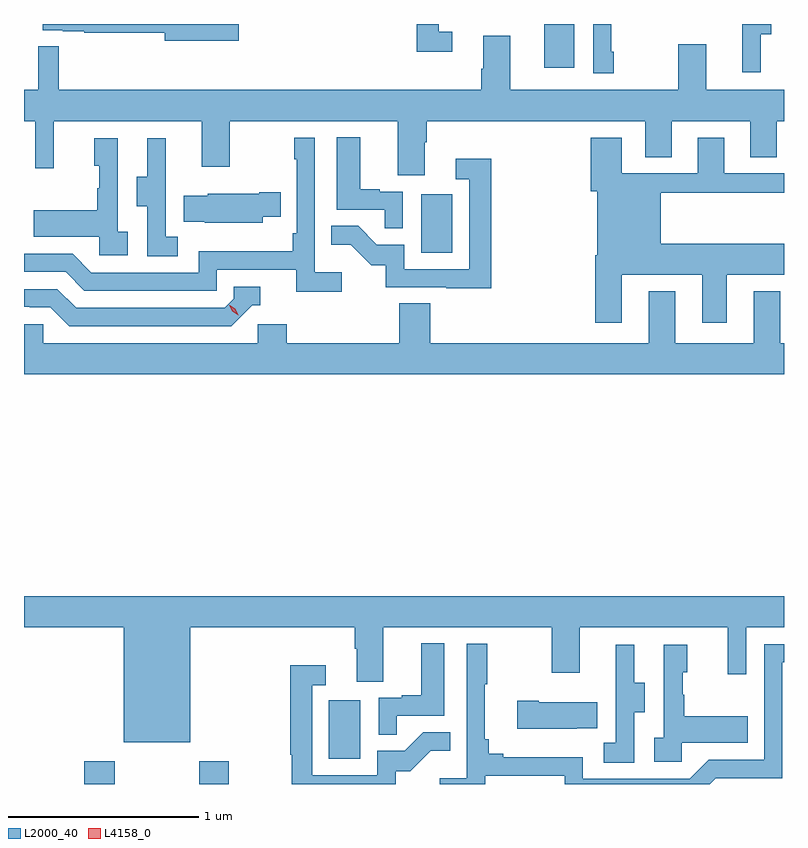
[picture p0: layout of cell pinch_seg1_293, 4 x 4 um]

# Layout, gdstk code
import gdstk
lib = gdstk.Library(unit=1e-6, precision=1e-09)
def R(c, l, rs):  # rectangles x0, y0, x1, y1
    for r in rs: c.add(gdstk.rectangle(r[:2], r[2:], *l))
def P(c, l, *ps):  # polygons
    for p in ps: c.add(gdstk.Polygon(p, *l))
L2000_40 = (2000, 40)
L4158_0 = (4158, 0)

pinch_seg1_293 = lib.new_cell('pinch_seg1_293')
R(pinch_seg1_293, L2000_40, [(949.025,541.583,949.185,541.702), (949.63,541.583,949.785,541.702), (950.312,541.716,950.476,542.023), (950.798,544.38,950.962,544.687), (951.446,545.352,951.604,545.583)])
P(pinch_seg1_293, L2000_40, [(952.585,545.53),(952.639,545.53),(952.639,545.583),(952.488,545.583),(952.488,545.541),(952.487,545.541),(952.487,545.328),(952.585,545.328)],
  [(949.837,545.583),(948.806,545.583),(948.806,545.55),(948.91,545.55),(948.91,545.544),(949.024,545.544),(949.024,545.538),(949.448,545.538),(949.448,545.495),(949.837,545.495)],
  [(950.962,545.541),(950.889,545.541),(950.889,545.583),(950.773,545.583),(950.773,545.436),(950.962,545.436)],
  [(951.811,545.437),(951.798,545.437),(951.798,545.583),(951.702,545.583),(951.702,545.325),(951.811,545.325)],
  [(950.815,544.96),(950.828,544.96),(950.828,545.072),(951.977,545.072),(951.977,544.882),(952.117,544.882),(952.117,545.072),(952.529,545.072),(952.529,544.882),(952.669,544.882),(952.669,545.072),(952.707,545.072),(952.707,545.236),(952.297,545.236),(952.297,545.476),(952.15,545.476),(952.15,545.236),(951.265,545.236),(951.265,545.522),(951.125,545.522),(951.125,545.348),(951.113,545.348),(951.113,545.236),(948.89,545.236),(948.89,545.465),(948.782,545.465),(948.782,545.236),(948.707,545.236),(948.707,545.072),(948.765,545.072),(948.765,544.824),(948.863,544.824),(948.863,545.072),(949.643,545.072),(949.643,544.833),(949.791,544.833),(949.791,545.072),(950.675,545.072),(950.675,544.786),(950.815,544.786)],
  [(950.7,544.701),(950.579,544.701),(950.579,544.714),(950.476,544.714),(950.476,544.987),(950.354,544.987),(950.354,544.605),(950.605,544.605),(950.605,544.507),(950.7,544.507)],
  [(951.853,544.262),(952.277,544.262),(952.277,544.011),(952.405,544.011),(952.405,544.262),(952.707,544.262),(952.707,544.426),(952.057,544.426),(952.057,544.696),(952.707,544.696),(952.707,544.797),(952.393,544.797),(952.393,544.984),(952.253,544.984),(952.253,544.797),(951.853,544.797),(951.853,544.984),(951.689,544.984),(951.689,544.704),(951.725,544.704),(951.725,544.366),(951.713,544.366),(951.713,544.011),(951.853,544.011)],
  [(950.38,544.276),(950.238,544.276),(950.238,544.984),(950.13,544.984),(950.13,544.871),(950.142,544.871),(950.142,544.483),(950.122,544.483),(950.122,544.387),(949.626,544.387),(949.626,544.275),(949.062,544.275),(948.963,544.374),(948.707,544.374),(948.707,544.278),(948.926,544.278),(949.025,544.179),(949.722,544.179),(949.722,544.29),(950.141,544.29),(950.141,544.174),(950.38,544.174)],
  [(949.516,544.463),(949.452,544.463),(949.452,544.767),(949.454,544.767),(949.454,544.981),(949.355,544.981),(949.355,544.779),(949.301,544.779),(949.301,544.624),(949.356,544.624),(949.356,544.36),(949.516,544.36)],
  [(949.252,544.49),(949.2,544.49),(949.2,544.981),(949.076,544.981),(949.076,544.836),(949.102,544.836),(949.102,544.718),(949.092,544.718),(949.092,544.603),(948.757,544.603),(948.757,544.463),(949.104,544.463),(949.104,544.365),(949.252,544.365)],
  [(951.167,544.873),(950.979,544.873),(950.979,544.767),(951.051,544.767),(951.051,544.293),(950.709,544.293),(950.709,544.422),(950.564,544.422),(950.466,544.52),(950.323,544.52),(950.323,544.421),(950.427,544.421),(950.534,544.314),(950.611,544.314),(950.611,544.197),(950.929,544.197),(950.929,544.192),(951.167,544.192)],
  [(949.963,544.568),(950.057,544.568),(950.057,544.698),(949.946,544.698),(949.946,544.69),(949.674,544.69),(949.674,544.678),(949.549,544.678),(949.549,544.541),(949.657,544.541),(949.657,544.538),(949.963,544.538)],
  [(949.908,544.104),(949.951,544.104),(949.951,544.2),(949.812,544.2),(949.812,544.137),(949.764,544.089),(948.981,544.089),(948.882,544.188),(948.707,544.188),(948.707,544.095),(948.738,544.095),(948.738,544.092),(948.845,544.092),(948.944,543.993),(949.797,543.993)],
  [(952.707,543.904),(952.687,543.904),(952.687,544.177),(952.547,544.177),(952.547,543.904),(952.135,543.904),(952.135,544.177),(951.995,544.177),(951.995,543.904),(950.846,543.904),(950.846,544.112),(950.681,544.112),(950.681,543.904),(950.09,543.904),(950.09,544.002),(949.938,544.002),(949.938,543.904),(948.807,543.904),(948.807,544.002),(948.707,544.002),(948.707,543.74),(952.707,543.74)],
  [(949.582,542.408),(950.447,542.408),(950.447,542.296),(950.459,542.296),(950.459,542.122),(950.599,542.122),(950.599,542.408),(951.484,542.408),(951.484,542.169),(951.631,542.169),(951.631,542.408),(952.412,542.408),(952.412,542.16),(952.509,542.16),(952.509,542.408),(952.707,542.408),(952.707,542.572),(948.707,542.572),(948.707,542.408),(949.232,542.408),(949.232,541.802),(949.582,541.802)],
  [(950.669,541.941),(950.92,541.941),(950.92,542.323),(950.798,542.323),(950.798,542.05),(950.695,542.05),(950.695,542.037),(950.574,542.037),(950.574,541.843),(950.669,541.843)],
  [(951.134,541.626),(951.552,541.626),(951.552,541.583),(952.317,541.583),(952.348,541.614),(952.698,541.614),(952.698,542.223),(952.707,542.223),(952.707,542.319),(952.602,542.319),(952.602,541.71),(952.311,541.71),(952.212,541.611),(951.648,541.611),(951.648,541.723),(951.229,541.723),(951.229,541.742),(951.152,541.742),(951.152,541.819),(951.133,541.819),(951.133,542.107),(951.145,542.107),(951.145,542.32),(951.036,542.32),(951.036,541.612),(950.895,541.612),(950.895,541.583),(951.134,541.583)],
  [(952.17,541.799),(952.517,541.799),(952.517,541.939),(952.183,541.939),(952.183,542.054),(952.173,542.054),(952.173,542.172),(952.198,542.172),(952.198,542.317),(952.074,542.317),(952.074,541.826),(952.023,541.826),(952.023,541.701),(952.17,541.701)],
  [(951.918,541.96),(951.973,541.96),(951.973,542.115),(951.919,542.115),(951.919,542.317),(951.821,542.317),(951.821,542.103),(951.822,542.103),(951.822,541.799),(951.759,541.799),(951.759,541.696),(951.918,541.696)],
  [(950.664,541.65),(950.74,541.65),(950.847,541.757),(950.951,541.757),(950.951,541.856),(950.808,541.856),(950.71,541.758),(950.565,541.758),(950.565,541.629),(950.223,541.629),(950.223,542.103),(950.296,542.103),(950.296,542.209),(950.107,542.209),(950.107,541.736),(950.115,541.736),(950.115,541.583),(950.664,541.583)],
  [(951.617,541.877),(951.725,541.877),(951.725,542.014),(951.415,542.014),(951.415,542.022),(951.303,542.022),(951.303,541.874),(951.617,541.874)])
P(pinch_seg1_293, L4158_0, [(949.835,544.051),(949.804,544.07),(949.788,544.103),(949.788,544.103),(949.789,544.103),(949.819,544.084),(949.835,544.051),(949.835,544.051)])

lib.write_gds('pinch_seg1_293.gds')
